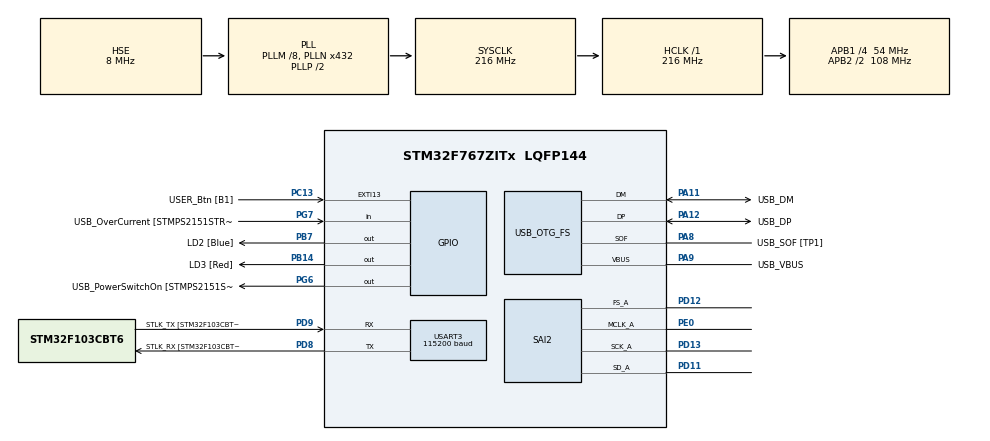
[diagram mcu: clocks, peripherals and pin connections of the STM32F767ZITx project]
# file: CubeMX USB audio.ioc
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CORTEX_M7.CPU_DCache=Enabled
CORTEX_M7.CPU_ICache=Enabled
Dma.Request0=SAI2_A
Dma.SAI2_A.0.Direction=DMA_MEMORY_TO_PERIPH
Dma.SAI2_A.0.FIFOMode=DMA_FIFOMODE_ENABLE
Dma.SAI2_A.0.FIFOThreshold=DMA_FIFO_THRESHOLD_FULL
Dma.SAI2_A.0.Instance=DMA2_Stream2
Dma.SAI2_A.0.MemBurst=DMA_MBURST_SINGLE
Dma.SAI2_A.0.MemDataAlignment=DMA_MDATAALIGN_HALFWORD
Dma.SAI2_A.0.MemInc=DMA_MINC_ENABLE
Dma.SAI2_A.0.Mode=DMA_CIRCULAR
Dma.SAI2_A.0.PeriphBurst=DMA_PBURST_SINGLE
Dma.SAI2_A.0.PeriphDataAlignment=DMA_PDATAALIGN_HALFWORD
Dma.SAI2_A.0.PeriphInc=DMA_PINC_DISABLE
Dma.SAI2_A.0.Priority=DMA_PRIORITY_HIGH
Mcu.Family=STM32F7
Mcu.Name=STM32F767ZITx
Mcu.Package=LQFP144
NVIC.DMA2_Stream2_IRQn=true\:0\:0\:false\:false\:true\:false\:true\:true
NVIC.OTG_FS_IRQn=true\:0\:0\:false\:false\:true\:false\:true\:true
NVIC.PriorityGroup=NVIC_PRIORITYGROUP_4
NVIC.SAI2_IRQn=true\:0\:0\:false\:false\:true\:true\:true\:true
PA1.GPIO_Label=RMII_REF_CLK [LAN8742A-CZ-TR_REFCLK0]
PA1.Signal=ETH_REF_CLK
PA10.GPIO_Label=USB_ID
PA10.Signal=USB_OTG_FS_ID
PA11.GPIO_Label=USB_DM
PA11.Mode=Device_Only
PA11.Signal=USB_OTG_FS_DM
PA12.GPIO_Label=USB_DP
PA12.Mode=Device_Only
PA12.Signal=USB_OTG_FS_DP
PA13.GPIO_Label=TMS
PA13.Mode=Serial_Wire
PA13.Signal=SYS_JTMS-SWDIO
PA14.GPIO_Label=TCK
PA14.Mode=Serial_Wire
PA14.Signal=SYS_JTCK-SWCLK
PA2.GPIO_Label=RMII_MDIO [LAN8742A-CZ-TR_MDIO]
PA2.Signal=ETH_MDIO
PA7.GPIO_Label=RMII_CRS_DV [LAN8742A-CZ-TR_CRS_DV]
PA7.Signal=ETH_CRS_DV
PA8.GPIO_Label=USB_SOF [TP1]
PA8.Mode=Activate_SOF_FS
PA8.Signal=USB_OTG_FS_SOF
PA9.GPIO_Label=USB_VBUS
PA9.Mode=Activate_VBUS
PA9.Signal=USB_OTG_FS_VBUS
PB13.GPIO_Label=RMII_TXD1 [LAN8742A-CZ-TR_TXD1]
PB13.Signal=ETH_TXD1
PB14.GPIO_Label=LD3 [Red]
PB14.Signal=GPIO_Output
PB3.GPIO_Label=SW0
PB3.Signal=SYS_JTDO-SWO
PB7.GPIO_Label=LD2 [Blue]
PB7.Signal=GPIO_Output
PC1.GPIO_Label=RMII_MDC [LAN8742A-CZ-TR_MDC]
PC1.Signal=ETH_MDC
PC13.GPIO_Label=USER_Btn [B1]
PC13.Signal=GPXTI13
PC14/OSC32_IN.Signal=RCC_OSC32_IN
PC15/OSC32_OUT.Signal=RCC_OSC32_OUT
PC4.GPIO_Label=RMII_RXD0 [LAN8742A-CZ-TR_RXD0]
PC4.Signal=ETH_RXD0
PC5.GPIO_Label=RMII_RXD1 [LAN8742A-CZ-TR_RXD1]
PC5.Signal=ETH_RXD1
PD11.Mode=SAI_A_MasterWithClock
PD11.Signal=SAI2_SD_A
PD12.Mode=SAI_A_MasterWithClock
PD12.Signal=SAI2_FS_A
PD13.Mode=SAI_A_MasterWithClock
PD13.Signal=SAI2_SCK_A
PD8.GPIO_Label=STLK_RX [STM32F103CBT6_PA3]
PD8.Mode=Asynchronous
PD8.Signal=USART3_TX
PD9.GPIO_Label=STLK_TX [STM32F103CBT6_PA2]
PD9.Mode=Asynchronous
PD9.Signal=USART3_RX
PE0.Mode=SAI_A_MasterWithClock
PE0.Signal=SAI2_MCLK_A
PG11.GPIO_Label=RMII_TX_EN [LAN8742A-CZ-TR_TXEN]
PG11.Signal=ETH_TX_EN
PG13.GPIO_Label=RMII_TXD0 [LAN8742A-CZ-TR_TXD0]
PG13.Signal=ETH_TXD0
PG6.GPIO_Label=USB_PowerSwitchOn [STMPS2151STR_EN]
PG6.Signal=GPIO_Output
PG7.GPIO_Label=USB_OverCurrent [STMPS2151STR_FAULT]
PG7.Signal=GPIO_Input
PH0/OSC_IN.GPIO_Label=MCO [STM32F103CBT6_PA8]
PH0/OSC_IN.Mode=HSE-External-Oscillator
PH0/OSC_IN.Signal=RCC_OSC_IN
PH1/OSC_OUT.Mode=HSE-External-Oscillator
PH1/OSC_OUT.Signal=RCC_OSC_OUT
ProjectManager.HeapSize=0x8000
ProjectManager.StackSize=0x8000
ProjectManager.TargetToolchain=STM32CubeIDE
RCC.48MHZClocksFreq_Value=24000000
RCC.AHBFreq_Value=216000000
RCC.APB1CLKDivider=RCC_HCLK_DIV4
RCC.APB1Freq_Value=54000000
RCC.APB1TimFreq_Value=108000000
RCC.APB2CLKDivider=RCC_HCLK_DIV2
RCC.APB2Freq_Value=108000000
RCC.APB2TimFreq_Value=216000000
RCC.CortexFreq_Value=216000000
RCC.HCLKFreq_Value=216000000
RCC.HSE_VALUE=8000000
RCC.HSI_VALUE=16000000
RCC.LSE_VALUE=32768
RCC.PLLI2SN=344
RCC.PLLI2SQ=7
RCC.PLLM=8
RCC.PLLMUL=RCC_PLL_MUL9
RCC.PLLN=432
RCC.PLLQ=9
RCC.PLLSAIQ=4
RCC.PRESCALERUSB=RCC_USBCLKSOURCE_PLL_DIV1_5
RCC.SAI2CLockSelection=RCC_SAI2CLKSOURCE_PLLI2S
RCC.SYSCLKFreq_VALUE=216000000
RCC.SYSCLKSource=RCC_SYSCLKSOURCE_PLLCLK
RCC.SYSCLKSourceVirtual=RCC_SYSCLKSOURCE_PLLCLK
RCC.USBFreq_Value=48000000
RCC.VCOOutputFreq_Value=432000000
SAI2.AudioFrequency-SAI_A_MasterWithClock=SAI_AUDIO_FREQUENCY_48K
SAI2.ErrorAudioFreq-SAI_A_MasterWithClock=-0.01 %
SAI2.InitProtocol-SAI_A_MasterWithClock=Enable
SAI2.Instance-SAI_A_MasterWithClock=SAI$Index_Block_A
SAI2.MClockEnable-SAI_A_MasterWithClock=SAI_MASTERCLOCK_ENABLE
SAI2.RealAudioFreq-SAI_A_MasterWithClock=47.991 KHz
SAI2.Synchro-SAI_A_MasterWithClock=SAI_ASYNCHRONOUS
SAI2.VirtualMode-SAI_A_MasterWithClock=VM_MASTER
SAI2.VirtualProtocol-SAI_A_BASIC=VM_BASIC_PROTOCOL
USART3.BaudRate=115200
USART3.VirtualMode-Asynchronous=VM_ASYNC
USART3.WordLength=WORDLENGTH_8B
USB_DEVICE.CLASS_NAME_FS=AUDIO
USB_DEVICE.USBD_AUDIO_FREQ-AUDIO_FS=48000
USB_DEVICE.VirtualMode-AUDIO_FS=Audio
USB_DEVICE.VirtualModeFS=Audio_FS
USB_OTG_FS.VirtualMode=Device_Only
VP_SAI2_VP_$IpInstance_SAIA_SAI_BASIC.Mode=SAI_A_BASIC
VP_USB_DEVICE_VS_USB_DEVICE_AUDIO_FS.Mode=AUDIO_FS
board=NUCLEO-F767ZI

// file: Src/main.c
/**
 ******************************************************************************
 * @file           : main.c
 * @brief          : Main program body
 ******************************************************************************
 * This notice applies to any and all portions of this file
 * that are not between comment pairs USER CODE BEGIN and
 * USER CODE END. Other portions of this file, whether
 * inserted by the user or by software development tools
 * are owned by their respective copyright owners.
 *
 * Copyright (c) 2018 STMicroelectronics International N.V.
 * All rights reserved.
 *
 * Redistribution and use in source and binary forms, with or without
 * modification, are permitted, provided that the following conditions are met:
 *
 * 1. Redistribution of source code must retain the above copyright notice,
 *    this list of conditions and the following disclaimer.
 * 2. Redistributions in binary form must reproduce the above copyright notice,
 *    this list of conditions and the following disclaimer in the documentation
 *    and/or other materials provided with the distribution.
 * 3. Neither the name of STMicroelectronics nor the names of other
 *    contributors to this software may be used to endorse or promote products
 *    derived from this software without specific written permission.
 * 4. This software, including modifications and/or derivative works of this
 *    software, must execute solely and exclusively on microcontroller or
 *    microprocessor devices manufactured by or for STMicroelectronics.
 * 5. Redistribution and use of this software other than as permitted under
 *    this license is void and will automatically terminate your rights under
 *    this license.
 *
 * THIS SOFTWARE IS PROVIDED BY STMICROELECTRONICS AND CONTRIBUTORS "AS IS"
 * AND ANY EXPRESS, IMPLIED OR STATUTORY WARRANTIES, INCLUDING, BUT NOT
 * LIMITED TO, THE IMPLIED WARRANTIES OF MERCHANTABILITY, FITNESS FOR A
 * PARTICULAR PURPOSE AND NON-INFRINGEMENT OF THIRD PARTY INTELLECTUAL PROPERTY
 * RIGHTS ARE DISCLAIMED TO THE FULLEST EXTENT PERMITTED BY LAW. IN NO EVENT
 * SHALL STMICROELECTRONICS OR CONTRIBUTORS BE LIABLE FOR ANY DIRECT, INDIRECT,
 * INCIDENTAL, SPECIAL, EXEMPLARY, OR CONSEQUENTIAL DAMAGES (INCLUDING, BUT NOT
 * LIMITED TO, PROCUREMENT OF SUBSTITUTE GOODS OR SERVICES; LOSS OF USE, DATA,
 * OR PROFITS; OR BUSINESS INTERRUPTION) HOWEVER CAUSED AND ON ANY THEORY OF
 * LIABILITY, WHETHER IN CONTRACT, STRICT LIABILITY, OR TORT (INCLUDING
 * NEGLIGENCE OR OTHERWISE) ARISING IN ANY WAY OUT OF THE USE OF THIS SOFTWARE,
 * EVEN IF ADVISED OF THE POSSIBILITY OF SUCH DAMAGE.
 *
 ******************************************************************************
 */
#include "main.h"
#include "stm32f7xx_hal.h"
#include "dma.h"
#include "sai.h"
#include "usart.h"
#include "usb_device.h"
#include "gpio.h"

/* USER CODE BEGIN Includes */

#include "usbd_audio.h"

/* USER CODE END Includes */

/* USER CODE BEGIN PV */
/* Private variables ---------------------------------------------------------*/

/* USER CODE END PV */

void SystemClock_Config(void);

/* USER CODE BEGIN PFP */
/* Private function prototypes -----------------------------------------------*/

/* USER CODE END PFP */

/* USER CODE BEGIN 0 */

#ifdef __GNUC__
#define PUTCHAR_PROTOTYPE int __io_putchar(int ch)
#else
#define PUTCHAR_PROTOTYPE int fputc(int ch, FILE *f)
#endif

PUTCHAR_PROTOTYPE
// Hook printf.
// JSB: Requires "syscalls.c" in order to intercept printf() etc.
{
  HAL_UART_Transmit(&huart3, (uint8_t *)&ch, 1, 0xFFFF);
  return ch;
}

void SendDebugMessage(char *s)
{
  HAL_UART_Transmit(&huart3, (uint8_t *)s, strlen(s), 0xFFFF);
}

//typedef struct
//{
//  int16_t Left;
//  int16_t Right;
//} AudioSample_t;
//
//#define Audio_NumSamples 100
//
//AudioSample_t Audio_Samples[Audio_NumSamples];

int32_t MessageCounter = 0;

void HAL_SAI_TxCpltCallback(SAI_HandleTypeDef *hsai)
{
  USBD_AUDIO_HandleTypeDef *hAudio = (USBD_AUDIO_HandleTypeDef *)(hUsbDeviceFS.pClassData);

  printf("RD en %d\n",hAudio->rd_enable);
  printf("RD ptr %d\n",hAudio->rd_ptr);
  printf("WR ptr %d\n",hAudio->wr_ptr);

//  int32_t Delta = (hAudio->wr_ptr - hAudio->rd_ptr);
//  if (Delta < 0)
//    Delta += AUDIO_TOTAL_BUF_SIZE;
//
//  ++MessageCounter;
//
//  if (MessageCounter == 1000)
//  {
//    MessageCounter = 0;
//    printf("Delta: %d\n", Delta);
//  }
//
//  printf("Delta: %d\n", Delta);
//
//  if (Delta > AUDIO_TOTAL_BUF_SIZE / 2)
//  {
//    if (hAudio->wr_ptr == 0)
//      hAudio->wr_ptr = AUDIO_TOTAL_BUF_SIZE;
//    hAudio->wr_ptr -= AUDIO_OUT_PACKET;
//  }
//  else if (Delta < AUDIO_TOTAL_BUF_SIZE / 2)
//  {
//    hAudio->wr_ptr += AUDIO_OUT_PACKET;
//    if (hAudio->wr_ptr == AUDIO_TOTAL_BUF_SIZE)
//      hAudio->wr_ptr = 0;
//  }
}

/* USER CODE END 0 */

int main(void)
{

  /* Enable I-Cache-------------------------------------------------------------*/
  SCB_EnableICache();

  /* Enable D-Cache-------------------------------------------------------------*/
  SCB_EnableDCache();

  /* MCU Configuration----------------------------------------------------------*/

  /* Reset of all peripherals, Initializes the Flash interface and the Systick. */
  HAL_Init();

  /* Configure the system clock */
  SystemClock_Config();

  /* Initialize all configured peripherals */
  MX_GPIO_Init();
  MX_DMA_Init();
  MX_USB_DEVICE_Init();
  MX_SAI2_Init();
  MX_USART3_UART_Init();
  /* USER CODE BEGIN 2 */

//  for (int32_t SampleIndex=0;SampleIndex<Audio_NumSamples;++SampleIndex)
//  {
//    int16_t ChannelValue;
//    ChannelValue=100*SampleIndex;
//    Audio_Samples[SampleIndex].Left=ChannelValue;
//    Audio_Samples[SampleIndex].Right=ChannelValue;
//  }
//
//  HAL_SAI_Transmit_DMA(&hsai_BlockA2, (uint8_t *)&Audio_Samples, Audio_NumSamples);
  /* USER CODE END 2 */

  /* Infinite loop */
  /* USER CODE BEGIN WHILE */
  // int32_t MessageIndex = 0;
  while (1)
  {
    /* USER CODE END WHILE */

  }

}

void SystemClock_Config(void)
{

  RCC_OscInitTypeDef RCC_OscInitStruct;
  RCC_ClkInitTypeDef RCC_ClkInitStruct;
  RCC_PeriphCLKInitTypeDef PeriphClkInitStruct;

  /**Configure the main internal regulator output voltage
   */
  __HAL_RCC_PWR_CLK_ENABLE()
  ;

  __HAL_PWR_VOLTAGESCALING_CONFIG(PWR_REGULATOR_VOLTAGE_SCALE1);

  /**Initializes the CPU, AHB and APB busses clocks
   */
  RCC_OscInitStruct.OscillatorType = RCC_OSCILLATORTYPE_HSE;
  RCC_OscInitStruct.HSEState = RCC_HSE_ON;
  RCC_OscInitStruct.PLL.PLLState = RCC_PLL_ON;
  RCC_OscInitStruct.PLL.PLLSource = RCC_PLLSOURCE_HSE;
  RCC_OscInitStruct.PLL.PLLM = 8;
  RCC_OscInitStruct.PLL.PLLN = 432;
  RCC_OscInitStruct.PLL.PLLP = RCC_PLLP_DIV2;
  RCC_OscInitStruct.PLL.PLLQ = 9;
  if (HAL_RCC_OscConfig(&RCC_OscInitStruct) != HAL_OK)
  {
    _Error_Handler(__FILE__, __LINE__);
  }

  /**Activate the Over-Drive mode
   */
  if (HAL_PWREx_EnableOverDrive() != HAL_OK)
  {
    _Error_Handler(__FILE__, __LINE__);
  }

  /**Initializes the CPU, AHB and APB busses clocks
   */
  RCC_ClkInitStruct.ClockType = RCC_CLOCKTYPE_HCLK | RCC_CLOCKTYPE_SYSCLK
    | RCC_CLOCKTYPE_PCLK1 | RCC_CLOCKTYPE_PCLK2;
  RCC_ClkInitStruct.SYSCLKSource = RCC_SYSCLKSOURCE_PLLCLK;
  RCC_ClkInitStruct.AHBCLKDivider = RCC_SYSCLK_DIV1;
  RCC_ClkInitStruct.APB1CLKDivider = RCC_HCLK_DIV4;
  RCC_ClkInitStruct.APB2CLKDivider = RCC_HCLK_DIV2;

  if (HAL_RCC_ClockConfig(&RCC_ClkInitStruct, FLASH_LATENCY_7) != HAL_OK)
  {
    _Error_Handler(__FILE__, __LINE__);
  }

  PeriphClkInitStruct.PeriphClockSelection = RCC_PERIPHCLK_USART3 | RCC_PERIPHCLK_SAI2
    | RCC_PERIPHCLK_CLK48;
  PeriphClkInitStruct.PLLI2S.PLLI2SN = 344;
  PeriphClkInitStruct.PLLI2S.PLLI2SP = RCC_PLLP_DIV2;
  PeriphClkInitStruct.PLLI2S.PLLI2SR = 2;
  PeriphClkInitStruct.PLLI2S.PLLI2SQ = 7;
  PeriphClkInitStruct.PLLI2SDivQ = 1;
  PeriphClkInitStruct.Sai2ClockSelection = RCC_SAI2CLKSOURCE_PLLI2S;
  PeriphClkInitStruct.Usart3ClockSelection = RCC_USART3CLKSOURCE_PCLK1;
  PeriphClkInitStruct.Clk48ClockSelection = RCC_CLK48SOURCE_PLL;
  if (HAL_RCCEx_PeriphCLKConfig(&PeriphClkInitStruct) != HAL_OK)
  {
    _Error_Handler(__FILE__, __LINE__);
  }

  /**Configure the Systick interrupt time
   */
  HAL_SYSTICK_Config(HAL_RCC_GetHCLKFreq() / 1000);

  /**Configure the Systick
   */
  HAL_SYSTICK_CLKSourceConfig(SYSTICK_CLKSOURCE_HCLK);

  /* SysTick_IRQn interrupt configuration */
  HAL_NVIC_SetPriority(SysTick_IRQn, 0, 0);
}

void _Error_Handler(char *file, int line)
{
  while (1)
  {
  }
}

/************************ (C) COPYRIGHT STMicroelectronics *****END OF FILE****/
